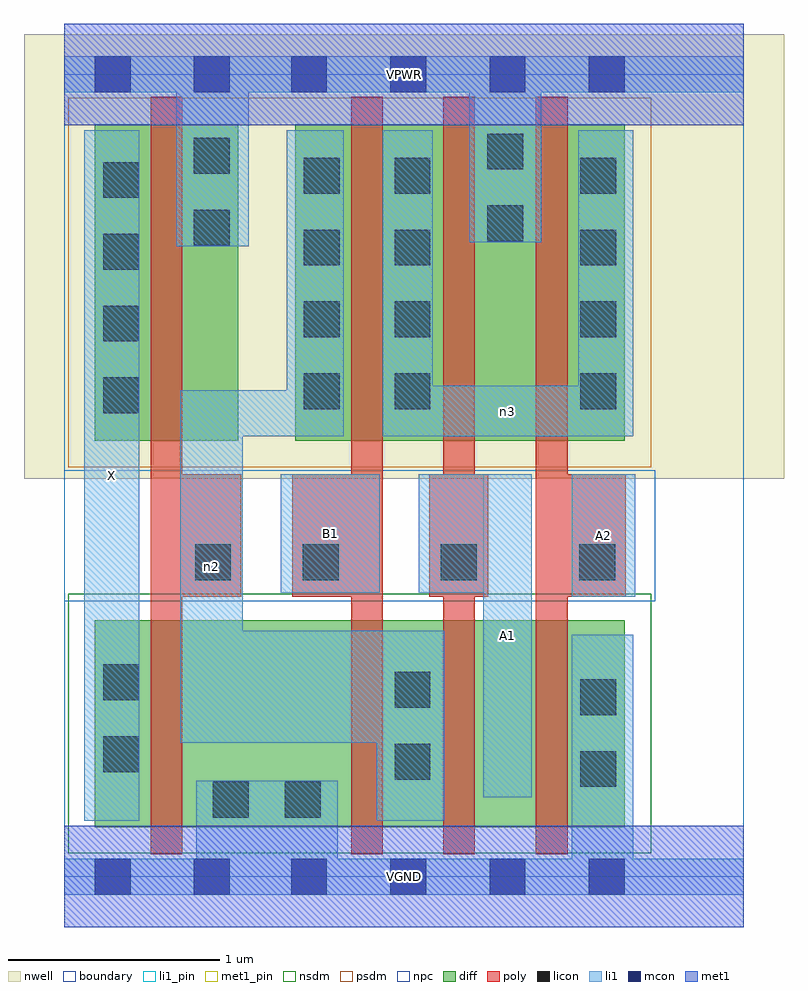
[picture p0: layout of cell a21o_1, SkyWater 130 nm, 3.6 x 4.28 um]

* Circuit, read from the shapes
.subckt a21o_1 A1 A2 B1 VGND VPWR X n2 n3
XM1 VGND n2 X VSUBS sky130_fd_pr__nfet_01v8 w=0.98 l=0.15
XM2 n2 B1 VGND VSUBS sky130_fd_pr__nfet_01v8 w=0.98 l=0.15
XM3 n1 A1 n2 VSUBS sky130_fd_pr__nfet_01v8 w=0.98 l=0.15
XM4 VGND A2 n1 VSUBS sky130_fd_pr__nfet_01v8 w=0.98 l=0.15
XM5 VPWR n2 X n4 sky130_fd_pr__pfet_01v8 w=1.5 l=0.15
XM6 n3 B1 n2 n4 sky130_fd_pr__pfet_01v8 w=1.5 l=0.15
XM7 VPWR A1 n3 n4 sky130_fd_pr__pfet_01v8 w=1.5 l=0.15
XM8 n3 A2 VPWR n4 sky130_fd_pr__pfet_01v8 w=1.5 l=0.15
.ends

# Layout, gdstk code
import gdstk
lib = gdstk.Library(unit=1e-6, precision=1e-09)
def R(c, l, rs):  # rectangles x0, y0, x1, y1
    for r in rs: c.add(gdstk.rectangle(r[:2], r[2:], *l))
def A(c, l, x, y, w, h, nx, ny, dx, dy):  # array of equal rectangles
    R(c, l, [(x+i*dx, y+j*dy, x+i*dx+w, y+j*dy+h) for i in range(nx) for j in range(ny)])
nwell = (64, 20)
diff = (65, 20)
poly = (66, 20)
licon = (66, 44)
li1_pin = (67, 16)
li1 = (67, 20)
mcon = (67, 44)
met1_pin = (68, 16)
met1 = (68, 20)
nsdm = (93, 44)
psdm = (94, 20)
npc = (95, 20)
boundary = (235, 4)

a21o_1 = lib.new_cell('a21o_1')
R(a21o_1, nwell, [(-0.19,1.885,3.41,3.99), (0,1.885,3.22,3.99)])
R(a21o_1, diff, [(0.145,0.235,2.655,1.215), (0.145,2.065,0.825,3.565), (1.095,2.065,2.655,3.565)])
R(a21o_1, poly, [(0.41,0.105,0.56,3.695), (1.36,0.105,1.51,3.695), (1.795,0.105,1.945,3.695), (2.235,0.105,2.385,3.695), (0.41,1.325,0.84,1.905), (1.08,1.325,1.51,1.905), (1.73,1.325,2.01,1.905), (2.235,1.325,2.66,1.905)])
A(a21o_1, licon, 1.13, 1.405, 0.17, 0.17, 3, 1, 0.655, 0)
A(a21o_1, licon, 0.185, 2.195, 0.17, 0.17, 1, 4, 0, 0.34)
A(a21o_1, licon, 1.135, 2.215, 0.17, 0.17, 1, 4, 0, 0.34)
A(a21o_1, licon, 1.565, 2.215, 0.17, 0.17, 1, 4, 0, 0.34)
A(a21o_1, licon, 2.445, 2.215, 0.17, 0.17, 1, 4, 0, 0.34)
R(a21o_1, licon, [(0.705,0.28,0.875,0.45), (1.045,0.28,1.215,0.45), (2.445,0.425,2.615,0.595), (1.565,0.46,1.735,0.63), (0.185,0.495,0.355,0.665), (2.445,0.765,2.615,0.935), (1.565,0.8,1.735,0.97), (0.185,0.835,0.355,1.005), (0.62,1.405,0.79,1.575), (0.615,2.99,0.785,3.16), (2.005,3.01,2.175,3.18), (0.615,3.33,0.785,3.5), (2.005,3.35,2.175,3.52)])
R(a21o_1, li1_pin, [(0.095,0.265,0.355,3.535), (1.985,0.375,2.215,1.905), (2.405,1.325,2.705,1.905), (1.025,1.345,1.495,1.905)])
R(a21o_1, li1, [(0,-0.085,3.22,0.085), (0.625,-0.085,1.295,0.455), (2.405,-0.085,2.695,1.145), (0.095,0.265,0.355,3.535), (1.48,0.265,1.8,1.165), (1.985,0.375,2.215,1.905), (0.55,0.635,0.845,2.305), (0.55,0.635,1.8,1.165), (2.405,1.325,2.705,1.905), (1.025,1.345,1.495,1.905), (1.68,1.345,2.215,1.905), (0.55,2.085,1.325,2.305), (1.055,2.085,1.325,3.535), (1.51,2.085,2.695,2.325), (1.51,2.085,1.745,3.535), (2.435,2.085,2.695,3.535), (0.53,2.985,0.875,3.885), (1.92,3.005,2.26,3.885), (0,3.715,3.22,3.885)])
A(a21o_1, mcon, 1.075, -0.085, 0.17, 0.17, 4, 2, 0.47, 3.8)
R(a21o_1, mcon, [(0.145,-0.085,0.315,0.085), (0.615,-0.085,0.785,0.085), (0.145,3.715,0.315,3.885), (0.615,3.715,0.785,3.885)])
R(a21o_1, met1_pin, [(0,-0.24,3.22,0.24), (0,3.56,3.22,4.04)])
R(a21o_1, met1, [(0,-0.24,3.22,0.24), (0,3.56,3.22,4.04)])
R(a21o_1, nsdm, [(0.02,0.11,2.78,1.34)])
R(a21o_1, psdm, [(0.02,1.94,2.78,3.69)])
R(a21o_1, npc, [(0,1.305,2.8,1.925)])
R(a21o_1, boundary, [(0,0,3.22,3.8)])
a21o_1.add(gdstk.Label('A1', (2.1,1.14), layer=67, texttype=5))
a21o_1.add(gdstk.Label('A2', (2.555,1.615), layer=67, texttype=5))
a21o_1.add(gdstk.Label('B1', (1.26,1.625), layer=67, texttype=5))
a21o_1.add(gdstk.Label('X', (0.225,1.9), layer=67, texttype=5))
a21o_1.add(gdstk.Label('n2', (0.697,1.47), layer=67, texttype=5))
a21o_1.add(gdstk.Label('n3', (2.102,2.205), layer=67, texttype=5))
a21o_1.add(gdstk.Label('VPWR', (1.61,3.8), layer=68, texttype=5))
a21o_1.add(gdstk.Label('VGND', (1.61,0), layer=68, texttype=5))
a21o_1.add(gdstk.Label('A1', (2.1,1.14), layer=67, texttype=16))
a21o_1.add(gdstk.Label('A2', (2.555,1.615), layer=67, texttype=16))
a21o_1.add(gdstk.Label('B1', (1.26,1.625), layer=67, texttype=16))
a21o_1.add(gdstk.Label('X', (0.225,1.9), layer=67, texttype=16))
a21o_1.add(gdstk.Label('VPWR', (1.61,3.8), layer=68, texttype=16))
a21o_1.add(gdstk.Label('VGND', (1.61,0), layer=68, texttype=16))

lib.write_gds('a21o_1.gds')
